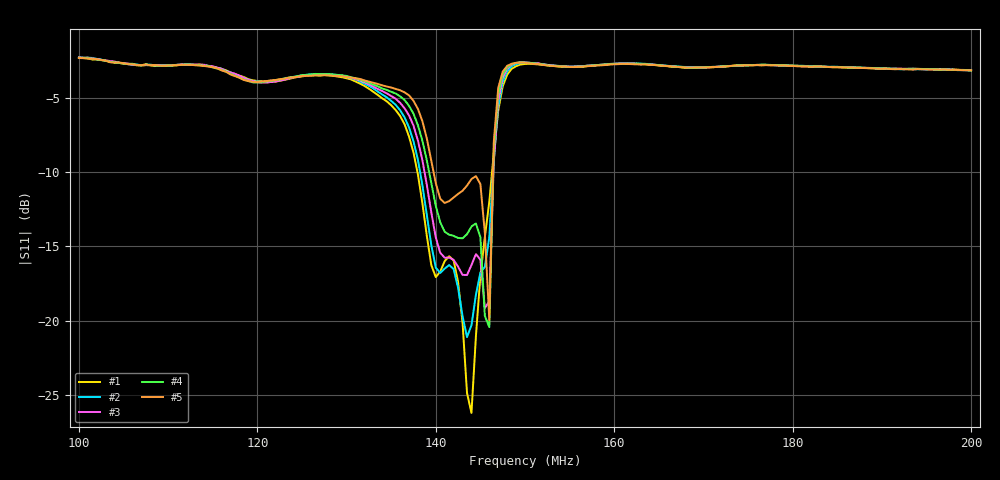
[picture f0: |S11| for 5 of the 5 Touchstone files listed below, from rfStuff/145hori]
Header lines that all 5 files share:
#  HZ  S  RI  R  50.00
! Rohde & Schwarz ZVA40 2Ports - Version 3.12 - 1145.1110k40 SN: 100360
! Measurement: S11
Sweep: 100 MHz to 200 MHz
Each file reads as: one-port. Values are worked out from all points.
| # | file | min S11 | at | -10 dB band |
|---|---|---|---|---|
| 1 | origindesign.s1p | -26.2 dB | 144 MHz | 8.366 MHz wide |
| 2 | trial3.s1p | -21.1 dB | 143.5 MHz | 8.183 MHz wide |
| 3 | trial4.s1p | -19.1 dB | 145.5 MHz | 7.728 MHz wide |
| 4 | trial5.s1p | -20.4 dB | 146 MHz | 7.186 MHz wide |
| 5 | trial6.s1p | -19.9 dB | 146 MHz | 6.667 MHz wide |
